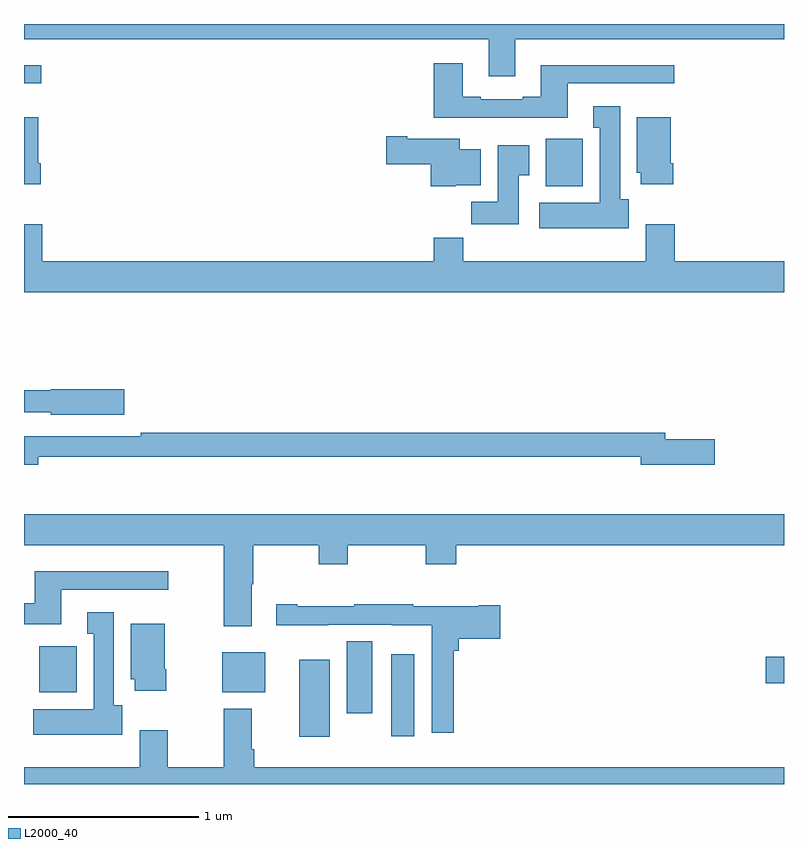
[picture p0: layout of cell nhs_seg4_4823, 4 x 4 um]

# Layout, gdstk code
import gdstk
lib = gdstk.Library(unit=1e-6, precision=1e-09)
def R(c, l, rs):  # rectangles x0, y0, x1, y1
    for r in rs: c.add(gdstk.rectangle(r[:2], r[2:], *l))
def P(c, l, *ps):  # polygons
    for p in ps: c.add(gdstk.Polygon(p, *l))
L2000_40 = (2000, 40)

nhs_seg4_4823 = lib.new_cell('nhs_seg4_4823')
R(nhs_seg4_4823, L2000_40, [(372.449,793.149,372.61,793.555), (372.932,793.152,373.054,793.582), (372.698,793.272,372.832,793.652), (371.081,793.382,371.278,793.624), (372.044,793.382,372.271,793.594), (374.904,793.429,375,793.571), (373.745,796.046,373.941,796.297), (371,796.587,371.092,796.684)])
P(nhs_seg4_4823, L2000_40, [(373.585,796.82),(375,796.82),(375,796.9),(371,796.9),(371,796.82),(373.445,796.82),(373.445,796.626),(373.585,796.626)],
  [(373.861,796.587),(374.422,796.587),(374.422,796.684),(373.721,796.684),(373.721,796.516),(373.625,796.516),(373.625,796.503),(373.405,796.503),(373.405,796.516),(373.309,796.516),(373.309,796.693),(373.157,796.693),(373.157,796.406),(373.861,796.406)],
  [(374.182,795.978),(374.137,795.978),(374.137,796.468),(373.997,796.468),(373.997,796.355),(374.03,796.355),(374.03,795.958),(373.713,795.958),(373.713,795.824),(374.182,795.824)],
  [(371.087,796.168),(371.074,796.168),(371.074,796.408),(371,796.408),(371,796.056),(371.087,796.056)],
  [(374.417,796.168),(374.404,796.168),(374.404,796.408),(374.225,796.408),(374.225,796.116),(374.246,796.116),(374.246,796.056),(374.417,796.056)],
  [(373.272,796.052),(373.405,796.052),(373.405,796.24),(373.294,796.24),(373.294,796.297),(373.018,796.297),(373.018,796.31),(372.906,796.31),(372.906,796.163),(373.142,796.163),(373.142,796.046),(373.272,796.046)],
  [(373.603,796.105),(373.66,796.105),(373.66,796.261),(373.493,796.261),(373.493,795.964),(373.354,795.964),(373.354,795.846),(373.603,795.846)],
  [(375,795.652),(374.426,795.652),(374.426,795.847),(374.273,795.847),(374.273,795.652),(373.313,795.652),(373.313,795.776),(373.157,795.776),(373.157,795.652),(371.096,795.652),(371.096,795.847),(371,795.847),(371,795.488),(375,795.488)],
  [(371.527,794.978),(371.142,794.978),(371.142,794.972),(371,794.972),(371,794.856),(371.142,794.856),(371.142,794.843),(371.527,794.843)],
  [(371.074,794.622),(374.246,794.622),(374.246,794.579),(374.635,794.579),(374.635,794.714),(374.374,794.714),(374.374,794.75),(371.614,794.75),(371.614,794.73),(371,794.73),(371,794.579),(371.074,794.579)],
  [(372.199,793.952),(372.207,793.952),(372.207,794.156),(372.55,794.156),(372.55,794.057),(372.705,794.057),(372.705,794.156),(373.114,794.156),(373.114,794.057),(373.274,794.057),(373.274,794.156),(375,794.156),(375,794.32),(371,794.32),(371,794.156),(372.052,794.156),(372.052,793.731),(372.199,793.731)],
  [(371.197,793.923),(371.758,793.923),(371.758,794.02),(371.057,794.02),(371.057,793.852),(371,793.852),(371,793.742),(371.197,793.742)],
  [(373.262,793.601),(373.289,793.601),(373.289,793.664),(373.507,793.664),(373.507,793.842),(373.394,793.842),(373.394,793.836),(373.049,793.836),(373.049,793.846),(372.739,793.846),(372.739,793.836),(372.439,793.836),(372.439,793.846),(372.327,793.846),(372.327,793.736),(372.602,793.736),(372.602,793.737),(372.936,793.737),(372.936,793.736),(373.146,793.736),(373.146,793.17),(373.262,793.17)],
  [(371.518,793.314),(371.473,793.314),(371.473,793.804),(371.333,793.804),(371.333,793.691),(371.366,793.691),(371.366,793.294),(371.049,793.294),(371.049,793.16),(371.518,793.16)],
  [(371.748,793.504),(371.74,793.504),(371.74,793.744),(371.561,793.744),(371.561,793.452),(371.582,793.452),(371.582,793.392),(371.748,793.392)],
  [(375,792.988),(372.212,792.988),(372.212,793.084),(372.199,793.084),(372.199,793.297),(372.052,793.297),(372.052,792.988),(371.757,792.988),(371.757,793.183),(371.609,793.183),(371.609,792.988),(371,792.988),(371,792.9),(375,792.9)])

lib.write_gds('nhs_seg4_4823.gds')
